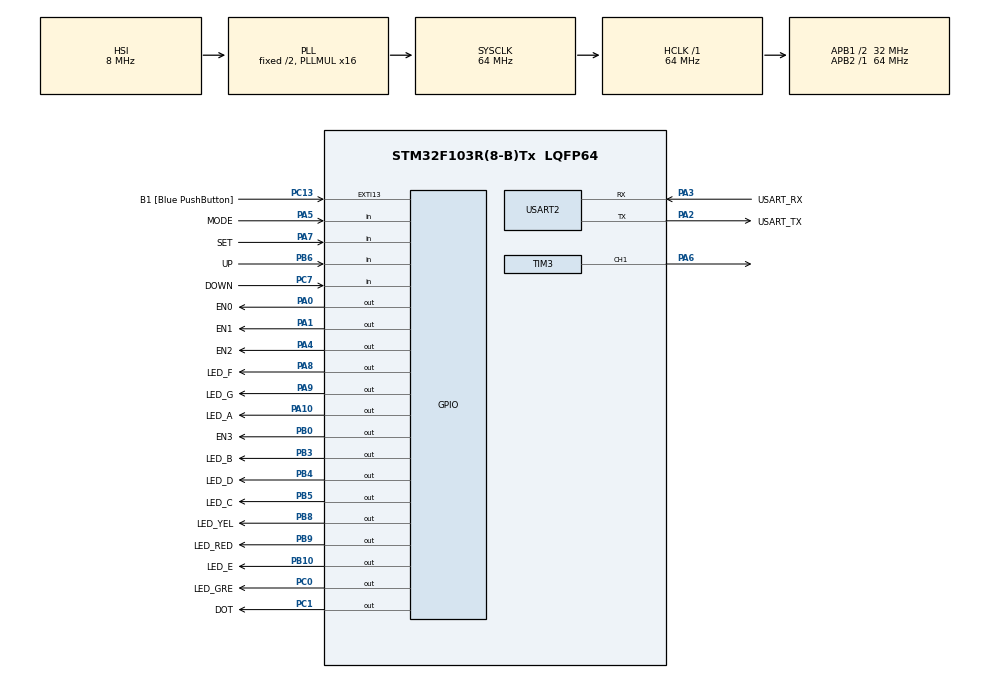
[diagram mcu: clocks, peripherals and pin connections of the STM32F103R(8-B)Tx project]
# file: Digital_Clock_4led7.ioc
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Mcu.Family=STM32F1
Mcu.Name=STM32F103R(8-B)Tx
Mcu.Package=LQFP64
NVIC.EXTI15_10_IRQn=true\:0\:0\:false\:false\:true\:true\:true\:true
NVIC.PriorityGroup=NVIC_PRIORITYGROUP_4
NVIC.TIM2_IRQn=true\:0\:0\:false\:false\:true\:true\:true\:true
PA0-WKUP.GPIO_Label=EN0
PA0-WKUP.Signal=GPIO_Output
PA1.GPIO_Label=EN1
PA1.Signal=GPIO_Output
PA10.GPIO_Label=LED_A
PA10.Signal=GPIO_Output
PA13.GPIO_Label=TMS
PA13.Mode=Serial_Wire
PA13.Signal=SYS_JTMS-SWDIO
PA14.GPIO_Label=TCK
PA14.Mode=Serial_Wire
PA14.Signal=SYS_JTCK-SWCLK
PA2.GPIO_Label=USART_TX
PA2.GPIO_Mode=GPIO_MODE_AF_PP
PA2.GPIO_PuPd=GPIO_NOPULL
PA2.GPIO_Speed=GPIO_SPEED_FREQ_LOW
PA2.Mode=Asynchronous
PA2.Signal=USART2_TX
PA3.GPIO_Label=USART_RX
PA3.GPIO_Mode=GPIO_MODE_AF_PP
PA3.GPIO_PuPd=GPIO_NOPULL
PA3.GPIO_Speed=GPIO_SPEED_FREQ_LOW
PA3.Mode=Asynchronous
PA3.Signal=USART2_RX
PA4.GPIO_Label=EN2
PA4.Signal=GPIO_Output
PA5.GPIO_Label=MODE
PA5.GPIO_PuPd=GPIO_PULLUP
PA5.Signal=GPIO_Input
PA6.Signal=S_TIM3_CH1
PA7.GPIO_Label=SET
PA7.GPIO_PuPd=GPIO_PULLUP
PA7.Signal=GPIO_Input
PA8.GPIO_Label=LED_F
PA8.Signal=GPIO_Output
PA9.GPIO_Label=LED_G
PA9.Signal=GPIO_Output
PB0.GPIO_Label=EN3
PB0.Signal=GPIO_Output
PB10.GPIO_Label=LED_E
PB10.Signal=GPIO_Output
PB3.GPIO_Label=LED_B
PB3.Signal=GPIO_Output
PB4.GPIO_Label=LED_D
PB4.Signal=GPIO_Output
PB5.GPIO_Label=LED_C
PB5.Signal=GPIO_Output
PB6.GPIO_Label=UP
PB6.GPIO_PuPd=GPIO_PULLUP
PB6.Signal=GPIO_Input
PB8.GPIO_Label=LED_YEL
PB8.Signal=GPIO_Output
PB9.GPIO_Label=LED_RED
PB9.Signal=GPIO_Output
PC0.GPIO_Label=LED_GRE
PC0.Signal=GPIO_Output
PC1.GPIO_Label=DOT
PC1.Signal=GPIO_Output
PC13-TAMPER-RTC.GPIO_Label=B1 [Blue PushButton]
PC13-TAMPER-RTC.GPIO_PuPd=GPIO_NOPULL
PC13-TAMPER-RTC.Signal=GPXTI13
PC14-OSC32_IN.Mode=LSE-External-Oscillator
PC14-OSC32_IN.Signal=RCC_OSC32_IN
PC15-OSC32_OUT.Mode=LSE-External-Oscillator
PC15-OSC32_OUT.Signal=RCC_OSC32_OUT
PC7.GPIO_Label=DOWN
PC7.GPIO_PuPd=GPIO_PULLUP
PC7.Signal=GPIO_Input
PD0-OSC_IN.Mode=HSE-External-Clock-Source
PD0-OSC_IN.Signal=RCC_OSC_IN
PD1-OSC_OUT.Mode=HSE-External-Clock-Source
PD1-OSC_OUT.Signal=RCC_OSC_OUT
ProjectManager.HeapSize=0x200
ProjectManager.StackSize=0x400
ProjectManager.TargetToolchain=STM32CubeIDE
RCC.AHBFreq_Value=64000000
RCC.APB1CLKDivider=RCC_HCLK_DIV2
RCC.APB1Freq_Value=32000000
RCC.APB1TimFreq_Value=64000000
RCC.APB2Freq_Value=64000000
RCC.APB2TimFreq_Value=64000000
RCC.HCLKFreq_Value=64000000
RCC.PLLMUL=RCC_PLL_MUL16
RCC.RTCClockSelection=RCC_RTCCLKSOURCE_LSE
RCC.SYSCLKFreq_VALUE=64000000
RCC.SYSCLKSource=RCC_SYSCLKSOURCE_PLLCLK
RCC.USBFreq_Value=64000000
SH.S_TIM3_CH1.0=TIM3_CH1,PWM Generation1 CH1
TIM2.Period=99
TIM2.Prescaler=639
TIM3.Channel-PWM\ Generation1\ CH1=TIM_CHANNEL_1
TIM3.Period=999
TIM3.Prescaler=63
USART2.VirtualMode=VM_ASYNC
VP_TIM2_VS_ClockSourceINT.Mode=Internal
board=NUCLEO-F103RB

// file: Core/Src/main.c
/* USER CODE BEGIN Header */
/**
  ******************************************************************************
  * @file           : main.c
  * @brief          : Main program body
  ******************************************************************************
  * @attention
  *
  * Copyright (c) 2023 STMicroelectronics.
  * All rights reserved.
  *
  * This software is licensed under terms that can be found in the LICENSE file
  * in the root directory of this software component.
  * If no LICENSE file comes with this software, it is provided AS-IS.
  *
  ******************************************************************************
  */
/* USER CODE END Header */
#include <fsm_buz.h>
#include "main.h"

/* USER CODE BEGIN Includes */
#include "button.h"
#include <fsm_mode.h>
#include <software_timer.h>
#include "led_display.h"
#include <stdint.h>
#include <stdio.h>
#include "scheduler.h"
#include "clock.h"
/* USER CODE END Includes */

TIM_HandleTypeDef htim2;
TIM_HandleTypeDef htim3;

UART_HandleTypeDef huart2;

void SystemClock_Config(void);
static void MX_GPIO_Init(void);
static void MX_USART2_UART_Init(void);
static void MX_TIM2_Init(void);
static void MX_TIM3_Init(void);

/* USER CODE BEGIN 0 */

int dutycycle;
void Buzzer_On(){
			dutycycle = 100;
			__HAL_TIM_SetCompare(&htim3,TIM_CHANNEL_1,dutycycle);

}

void Buzzer_Off(){
	dutycycle = 0;
	__HAL_TIM_SetCompare(&htim3,TIM_CHANNEL_1,dutycycle);
}
/* USER CODE END 0 */

int main(void)
{

  /* MCU Configuration--------------------------------------------------------*/

  /* Reset of all peripherals, Initializes the Flash interface and the Systick. */
  HAL_Init();

  /* Configure the system clock */
  SystemClock_Config();

  /* Initialize all configured peripherals */
  MX_GPIO_Init();
  MX_USART2_UART_Init();
  MX_TIM2_Init();
  MX_TIM3_Init();
  /* USER CODE BEGIN 2 */
  HAL_TIM_Base_Start_IT(&htim2);
  HAL_TIM_PWM_Start(&htim3, TIM_CHANNEL_1);

  status_mode = INIT;

  setClock(0,0,0);
  SCH_Init();
  SCH_Add_Task(clock, 0, 1000);
  SCH_Add_Task(timerRun, 0, 10);
  SCH_Add_Task(fsm_mode_run, 0 , 10);
  SCH_Add_Task(fsm_buz_run, 50000, 10);
  SCH_Add_Task(button_reading, 0, 10);
  SCH_Add_Task(Led_scaning, 0 , 1);

  setTimer0(1000);
  setTimer1(1000);
  setTimer2(1000);
  setTimer3(1000);
  setTimer4(1000);
  setTimer5(1000);
  setTimer6(1000);

  /* USER CODE END 2 */

  /* Infinite loop */
  while (1)
  {

    /* USER CODE BEGIN 3 */

	  SCH_Dispatch_Tasks();
  }
  /* USER CODE END 3 */
}

void SystemClock_Config(void)
{
  RCC_OscInitTypeDef RCC_OscInitStruct = {0};
  RCC_ClkInitTypeDef RCC_ClkInitStruct = {0};

  /** Initializes the RCC Oscillators according to the specified parameters
  * in the RCC_OscInitTypeDef structure.
  */
  RCC_OscInitStruct.OscillatorType = RCC_OSCILLATORTYPE_HSI;
  RCC_OscInitStruct.HSIState = RCC_HSI_ON;
  RCC_OscInitStruct.HSICalibrationValue = RCC_HSICALIBRATION_DEFAULT;
  RCC_OscInitStruct.PLL.PLLState = RCC_PLL_ON;
  RCC_OscInitStruct.PLL.PLLSource = RCC_PLLSOURCE_HSI_DIV2;
  RCC_OscInitStruct.PLL.PLLMUL = RCC_PLL_MUL16;
  if (HAL_RCC_OscConfig(&RCC_OscInitStruct) != HAL_OK)
  {
    Error_Handler();
  }

  /** Initializes the CPU, AHB and APB buses clocks
  */
  RCC_ClkInitStruct.ClockType = RCC_CLOCKTYPE_HCLK|RCC_CLOCKTYPE_SYSCLK
                              |RCC_CLOCKTYPE_PCLK1|RCC_CLOCKTYPE_PCLK2;
  RCC_ClkInitStruct.SYSCLKSource = RCC_SYSCLKSOURCE_PLLCLK;
  RCC_ClkInitStruct.AHBCLKDivider = RCC_SYSCLK_DIV1;
  RCC_ClkInitStruct.APB1CLKDivider = RCC_HCLK_DIV2;
  RCC_ClkInitStruct.APB2CLKDivider = RCC_HCLK_DIV1;

  if (HAL_RCC_ClockConfig(&RCC_ClkInitStruct, FLASH_LATENCY_2) != HAL_OK)
  {
    Error_Handler();
  }
}

static void MX_TIM2_Init(void)
{

  TIM_ClockConfigTypeDef sClockSourceConfig = {0};
  TIM_MasterConfigTypeDef sMasterConfig = {0};

  htim2.Instance = TIM2;
  htim2.Init.Prescaler = 639;
  htim2.Init.CounterMode = TIM_COUNTERMODE_UP;
  htim2.Init.Period = 99;
  htim2.Init.ClockDivision = TIM_CLOCKDIVISION_DIV1;
  htim2.Init.AutoReloadPreload = TIM_AUTORELOAD_PRELOAD_DISABLE;
  if (HAL_TIM_Base_Init(&htim2) != HAL_OK)
  {
    Error_Handler();
  }
  sClockSourceConfig.ClockSource = TIM_CLOCKSOURCE_INTERNAL;
  if (HAL_TIM_ConfigClockSource(&htim2, &sClockSourceConfig) != HAL_OK)
  {
    Error_Handler();
  }
  sMasterConfig.MasterOutputTrigger = TIM_TRGO_RESET;
  sMasterConfig.MasterSlaveMode = TIM_MASTERSLAVEMODE_DISABLE;
  if (HAL_TIMEx_MasterConfigSynchronization(&htim2, &sMasterConfig) != HAL_OK)
  {
    Error_Handler();
  }

}

static void MX_TIM3_Init(void)
{

  TIM_MasterConfigTypeDef sMasterConfig = {0};
  TIM_OC_InitTypeDef sConfigOC = {0};

  htim3.Instance = TIM3;
  htim3.Init.Prescaler = 63;
  htim3.Init.CounterMode = TIM_COUNTERMODE_UP;
  htim3.Init.Period = 999;
  htim3.Init.ClockDivision = TIM_CLOCKDIVISION_DIV1;
  htim3.Init.AutoReloadPreload = TIM_AUTORELOAD_PRELOAD_DISABLE;
  if (HAL_TIM_PWM_Init(&htim3) != HAL_OK)
  {
    Error_Handler();
  }
  sMasterConfig.MasterOutputTrigger = TIM_TRGO_RESET;
  sMasterConfig.MasterSlaveMode = TIM_MASTERSLAVEMODE_DISABLE;
  if (HAL_TIMEx_MasterConfigSynchronization(&htim3, &sMasterConfig) != HAL_OK)
  {
    Error_Handler();
  }
  sConfigOC.OCMode = TIM_OCMODE_PWM1;
  sConfigOC.Pulse = 0;
  sConfigOC.OCPolarity = TIM_OCPOLARITY_HIGH;
  sConfigOC.OCFastMode = TIM_OCFAST_DISABLE;
  if (HAL_TIM_PWM_ConfigChannel(&htim3, &sConfigOC, TIM_CHANNEL_1) != HAL_OK)
  {
    Error_Handler();
  }
  HAL_TIM_MspPostInit(&htim3);

}

static void MX_USART2_UART_Init(void)
{

  huart2.Instance = USART2;
  huart2.Init.BaudRate = 115200;
  huart2.Init.WordLength = UART_WORDLENGTH_8B;
  huart2.Init.StopBits = UART_STOPBITS_1;
  huart2.Init.Parity = UART_PARITY_NONE;
  huart2.Init.Mode = UART_MODE_TX_RX;
  huart2.Init.HwFlowCtl = UART_HWCONTROL_NONE;
  huart2.Init.OverSampling = UART_OVERSAMPLING_16;
  if (HAL_UART_Init(&huart2) != HAL_OK)
  {
    Error_Handler();
  }

}

static void MX_GPIO_Init(void)
{
  GPIO_InitTypeDef GPIO_InitStruct = {0};

  /* GPIO Ports Clock Enable */
  __HAL_RCC_GPIOC_CLK_ENABLE();
  __HAL_RCC_GPIOD_CLK_ENABLE();
  __HAL_RCC_GPIOA_CLK_ENABLE();
  __HAL_RCC_GPIOB_CLK_ENABLE();

  /*Configure GPIO pin Output Level */
  HAL_GPIO_WritePin(GPIOC, LED_GRE_Pin|DOT_Pin, GPIO_PIN_RESET);

  /*Configure GPIO pin Output Level */
  HAL_GPIO_WritePin(GPIOA, EN0_Pin|EN1_Pin|EN2_Pin|LED_F_Pin
                          |LED_G_Pin|LED_A_Pin, GPIO_PIN_RESET);

  /*Configure GPIO pin Output Level */
  HAL_GPIO_WritePin(GPIOB, EN3_Pin|LED_E_Pin|LED_B_Pin|LED_D_Pin
                          |LED_C_Pin|LED_YEL_Pin|LED_RED_Pin, GPIO_PIN_RESET);

  /*Configure GPIO pin : B1_Pin */
  GPIO_InitStruct.Pin = B1_Pin;
  GPIO_InitStruct.Mode = GPIO_MODE_IT_RISING;
  GPIO_InitStruct.Pull = GPIO_NOPULL;
  HAL_GPIO_Init(B1_GPIO_Port, &GPIO_InitStruct);

  /*Configure GPIO pins : LED_GRE_Pin DOT_Pin */
  GPIO_InitStruct.Pin = LED_GRE_Pin|DOT_Pin;
  GPIO_InitStruct.Mode = GPIO_MODE_OUTPUT_PP;
  GPIO_InitStruct.Pull = GPIO_NOPULL;
  GPIO_InitStruct.Speed = GPIO_SPEED_FREQ_LOW;
  HAL_GPIO_Init(GPIOC, &GPIO_InitStruct);

  /*Configure GPIO pins : EN0_Pin EN1_Pin EN2_Pin LED_F_Pin
                           LED_G_Pin LED_A_Pin */
  GPIO_InitStruct.Pin = EN0_Pin|EN1_Pin|EN2_Pin|LED_F_Pin
                          |LED_G_Pin|LED_A_Pin;
  GPIO_InitStruct.Mode = GPIO_MODE_OUTPUT_PP;
  GPIO_InitStruct.Pull = GPIO_NOPULL;
  GPIO_InitStruct.Speed = GPIO_SPEED_FREQ_LOW;
  HAL_GPIO_Init(GPIOA, &GPIO_InitStruct);

  /*Configure GPIO pins : MODE_Pin SET_Pin */
  GPIO_InitStruct.Pin = MODE_Pin|SET_Pin;
  GPIO_InitStruct.Mode = GPIO_MODE_INPUT;
  GPIO_InitStruct.Pull = GPIO_PULLUP;
  HAL_GPIO_Init(GPIOA, &GPIO_InitStruct);

  /*Configure GPIO pins : EN3_Pin LED_E_Pin LED_B_Pin LED_D_Pin
                           LED_C_Pin LED_YEL_Pin LED_RED_Pin */
  GPIO_InitStruct.Pin = EN3_Pin|LED_E_Pin|LED_B_Pin|LED_D_Pin
                          |LED_C_Pin|LED_YEL_Pin|LED_RED_Pin;
  GPIO_InitStruct.Mode = GPIO_MODE_OUTPUT_PP;
  GPIO_InitStruct.Pull = GPIO_NOPULL;
  GPIO_InitStruct.Speed = GPIO_SPEED_FREQ_LOW;
  HAL_GPIO_Init(GPIOB, &GPIO_InitStruct);

  /*Configure GPIO pin : DOWN_Pin */
  GPIO_InitStruct.Pin = DOWN_Pin;
  GPIO_InitStruct.Mode = GPIO_MODE_INPUT;
  GPIO_InitStruct.Pull = GPIO_PULLUP;
  HAL_GPIO_Init(DOWN_GPIO_Port, &GPIO_InitStruct);

  /*Configure GPIO pin : UP_Pin */
  GPIO_InitStruct.Pin = UP_Pin;
  GPIO_InitStruct.Mode = GPIO_MODE_INPUT;
  GPIO_InitStruct.Pull = GPIO_PULLUP;
  HAL_GPIO_Init(UP_GPIO_Port, &GPIO_InitStruct);

  /* EXTI interrupt init*/
  HAL_NVIC_SetPriority(EXTI15_10_IRQn, 0, 0);
  HAL_NVIC_EnableIRQ(EXTI15_10_IRQn);

}

void Error_Handler(void)
{
  __disable_irq();
  while (1)
  {
  }
}
